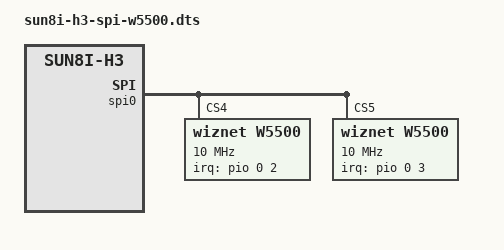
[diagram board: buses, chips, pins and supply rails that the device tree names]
/dts-v1/ /plugin/;

#include <dt-bindings/interrupt-controller/irq.h>

/ {
    compatible = "allwinner,sun8i-h3";

    fragment@0 {
        target-path = "/aliases";
        __overlay__ {
            spi0 = "/soc/spi@01c68000";
            spi1 = "/soc/spi@01c69000";
        };
    };

    fragment@1 {
        target = <&pio>;
        __overlay__ {
            net0_pin_irq: net0_pin_irq {
                pins = "PA2";               /* PA2 Connected to Cactus Pot ETH1-INT */
                function = "irq";
                bias-pull-up;
            };

            net1_pin_irq: net1_pin_irq {
                pins = "PA3";               /* PA3 Connected to Cactus Pot ETH2-INT */
                function = "irq";
                bias-pull-up;
            };
        };
    };

    fragment@2 {
        target = <&spi0>;
        __overlay__ {
            status = "okay";

            w5500@0 {
                reg = <4>;
                compatible = "wiznet,w5500";
                pinctrl-names = "default";
                pinctrl-0 = <&net0_pin_irq>;
                spi-max-frequency = <10000000>;             /* Temporary required because long wires connected! */
                interrupt-parent = <&pio>;
                interrupts = <0 2 IRQ_TYPE_LEVEL_LOW>; /* PA2 Connected to Cactus Pot ETH1-INT */
                mac-address = [ 9e 0b 74 f7 5e 6b ];
                status = "okay";
            };

            w5500@1 {
                reg = <5>;
                compatible = "wiznet,w5500";
                pinctrl-names = "default";
                pinctrl-0 = <&net1_pin_irq>;
                spi-max-frequency = <10000000>;             /* Temporary required because long wires connected! */
                interrupt-parent = <&pio>;
                interrupts = <0 3 IRQ_TYPE_LEVEL_LOW>; /* PA3 Connected to Cactus Pot ETH2-INT */
                mac-address = [ 9e 0b 74 f7 5e 6c ];
                status = "okay";
            };
        };
    };
};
